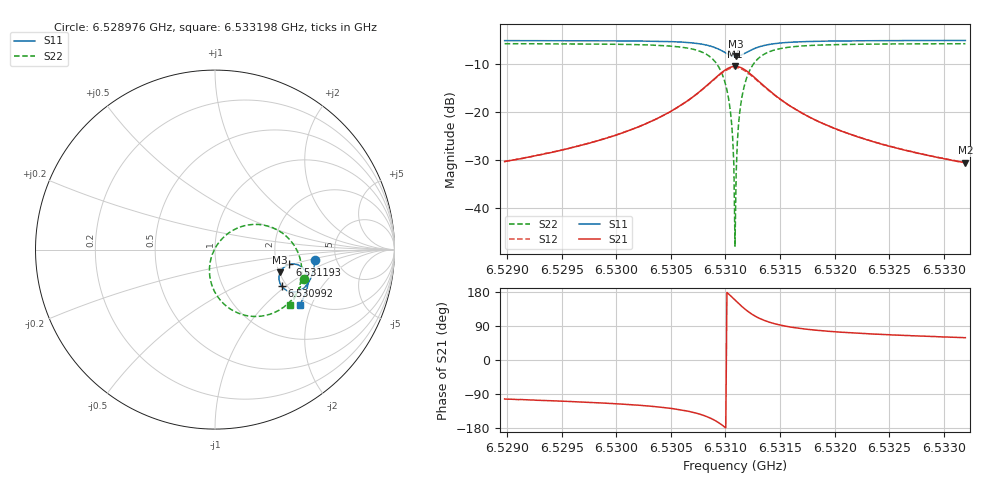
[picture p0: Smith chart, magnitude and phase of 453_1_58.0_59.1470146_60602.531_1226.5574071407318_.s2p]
#  HZ  S  RI  R  50.00
! Rohde & Schwarz Vector Network Analyzer
! Rohde-Schwarz,ZNB20-2Port,1311601062101988,3.16
! Created: UTC 3/21/2024, 1:10:38 AM
! freq[Hz]  re:S11  im:S11  re:S21  im:S21  re:S12  im:S12  re:S22  im:S22
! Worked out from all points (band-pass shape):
!   401 points, 6.528976 GHz to 6.533198 GHz, reference 50 ohm
!   highest |S21| = -10.42 dB at 6.531087 GHz (marker M1); lowest = -30.6 dB at 6.533198 GHz (marker M2)
!   |S21| within 3 dB of the highest: 6.530878 GHz to 6.531299 GHz (421.4 kHz wide, 0.00645 % of centre)
!   lowest |S11| = -8.3 dB at 6.531098 GHz (marker M3), VSWR 2.25, Z = 101 - j30.2 ohm
!   |S11| at or under -10 dB: nowhere
!   |S22| runs from -48.0 to -5.7 dB; largest |S21 - S12| = 0.011
!   S11 on the Smith chart (normalised r, x): 6.528976 GHz: 3.44, -0.59; 6.530992 GHz: 1.88, -0.93; 6.531193 GHz: 2.35, -0.47; 6.533198 GHz: 1.82, -1.64
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6.5289762e9  0.5578 -0.0588  -0.00679 -0.0298  -0.00749 -0.0297  0.4947 -0.162
6.5296834e9  0.5476 -0.1171  -0.0162 -0.0423  -0.0171 -0.042  0.4647 -0.2275
6.5303905e9  0.5193 -0.1864  -0.0492 -0.0726  -0.0511 -0.0714  0.3848 -0.319
6.5308127e9  0.4496 -0.2355  -0.1549 -0.0983  -0.1572 -0.0922  0.1812 -0.3689
6.5309183e9  0.4057 -0.2305  -0.2233 -0.0725  -0.2226 -0.0635  0.0645 -0.3156
6.5309922e9  0.3714 -0.2037  -0.2738 -0.0153  -0.2685 -0.00574  -0.0127 -0.211
6.5310238e9  0.3611 -0.1839  -0.2873 0.0226  -0.2796 0.031  -0.0293 -0.1456
6.5310449e9  0.3571 -0.1683  -0.2908 0.0514  -0.2817 0.0583  -0.0304 -0.0975
6.5310555e9  0.3567 -0.1602  -0.2904 0.0663  -0.2808 0.0725  -0.0275 -0.073
6.531066e9  0.3568 -0.152  -0.2887 0.0814  -0.2785 0.0867  -0.022 -0.0485
6.5310766e9  0.3579 -0.1437  -0.2852 0.0964  -0.2749 0.1007  -0.0142 -0.0244
6.5310872e9  0.3598 -0.1355  -0.2803 0.1109  -0.2699 0.1144  -0.00383 -0.00107
6.5310977e9  0.3627 -0.1275  -0.2741 0.125  -0.2635 0.1275  0.00853 0.0212
6.5311083e9  0.3664 -0.1201  -0.2664 0.1383  -0.2561 0.1399  0.0234 0.0419
6.5311188e9  0.3708 -0.113  -0.2577 0.1508  -0.2475 0.1514  0.0398 0.0609
6.5311399e9  0.3816 -0.1006  -0.2371 0.1723  -0.2278 0.1714  0.0769 0.0931
6.5311927e9  0.4143 -0.0828  -0.1774 0.2041  -0.1711 0.201  0.1803 0.1364
6.5312666e9  0.4566 -0.0834  -0.1033 0.2061  -0.1 0.2032  0.3057 0.1276
6.5313721e9  0.4932 -0.1057  -0.0393 0.1756  -0.0378 0.1738  0.4104 0.0619
6.5317943e9  0.518 -0.1853  0.0156 0.0848  0.0165 0.0844  0.4832 -0.1287
6.5325015e9  0.4981 -0.2569  0.0176 0.0406  0.0183 0.0404  0.4552 -0.2453
6.5331981e9  0.471 -0.3084  0.0152 0.0254  0.0159 0.0253  0.4205 -0.3067
